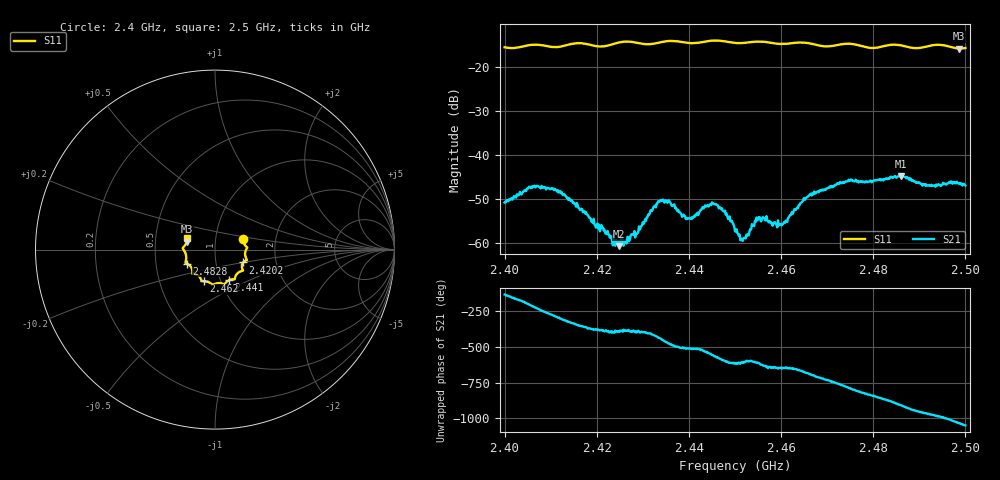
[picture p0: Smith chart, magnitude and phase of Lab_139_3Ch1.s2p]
# Hz S RI R 50
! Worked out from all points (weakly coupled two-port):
!   601 points, 2.4 GHz to 2.5 GHz, reference 50 ohm
!   highest |S21| = -44.76 dB at 2.486 GHz (marker M1); lowest = -60.7 dB at 2.4248 GHz (marker M2)
!   lowest |S11| = -15.8 dB at 2.4987 GHz (marker M3), VSWR 1.39, Z = 36.3 + j3.26 ohm
!   |S11| at or under -10 dB: start of sweep to end of sweep
!   S12 and S22 are empty: the file has one direction only
!   S11 on the Smith chart (normalised r, x): 2.4 GHz: 1.36, +0.17; 2.4202 GHz: 1.35, -0.20; 2.441 GHz: 1.10, -0.39; 2.462 GHz: 0.83, -0.30; 2.4828 GHz: 0.72, -0.12; 2.5 GHz: 0.73, +0.09
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2.4e9  0.157 0.0609  -0.0019 -0.00217  0 0  0 0
2.407e9  0.1797 0.0106  -0.00303 0.00329  0 0  0 0
2.412e9  0.1679 -0.0298  0.00192 0.00338  0 0  0 0
2.416667e9  0.1774 -0.0591  0.00242 0.000315  0 0  0 0
2.420167e9  0.1569 -0.0719  0.00157 -0.000531  0 0  0 0
2.424833e9  0.1545 -0.1122  0.000762 -0.000513  0 0  0 0
2.428833e9  0.1454 -0.1203  0.00111 -0.000648  0 0  0 0
2.433333e9  0.1127 -0.1519  0.000833 -0.00286  0 0  0 0
2.441e9  0.0773 -0.1706  -0.00173 -0.000899  0 0  0 0
2.4455e9  0.0524 -0.194  -0.00251 0.00113  0 0  0 0
2.45e9  0.027 -0.1868  -0.000355 0.00131  0 0  0 0
2.451667e9  0.0103 -0.1878  -0.000443 0.000958  0 0  0 0
2.454833e9  -0.0102 -0.1949  -0.000587 0.00171  0 0  0 0
2.46e9  -0.0423 -0.1784  0.000405 0.00159  0 0  0 0
2.462e9  -0.0613 -0.176  0.000673 0.00197  0 0  0 0
2.466667e9  -0.0772 -0.1673  0.00318 0.00139  0 0  0 0
2.482833e9  -0.1579 -0.0779  -0.00472 -0.0027  0 0  0 0
2.483333e9  -0.1606 -0.0766  -0.00495 -0.00217  0 0  0 0
2.486e9  -0.1637 -0.0674  -0.00573 0.000763  0 0  0 0
2.491833e9  -0.1729 -0.00365  -0.00156 0.00421  0 0  0 0
2.498667e9  -0.1568 0.0437  0.00334 0.00336  0 0  0 0
2.5e9  -0.1532 0.062  0.00388 0.00226  0 0  0 0
